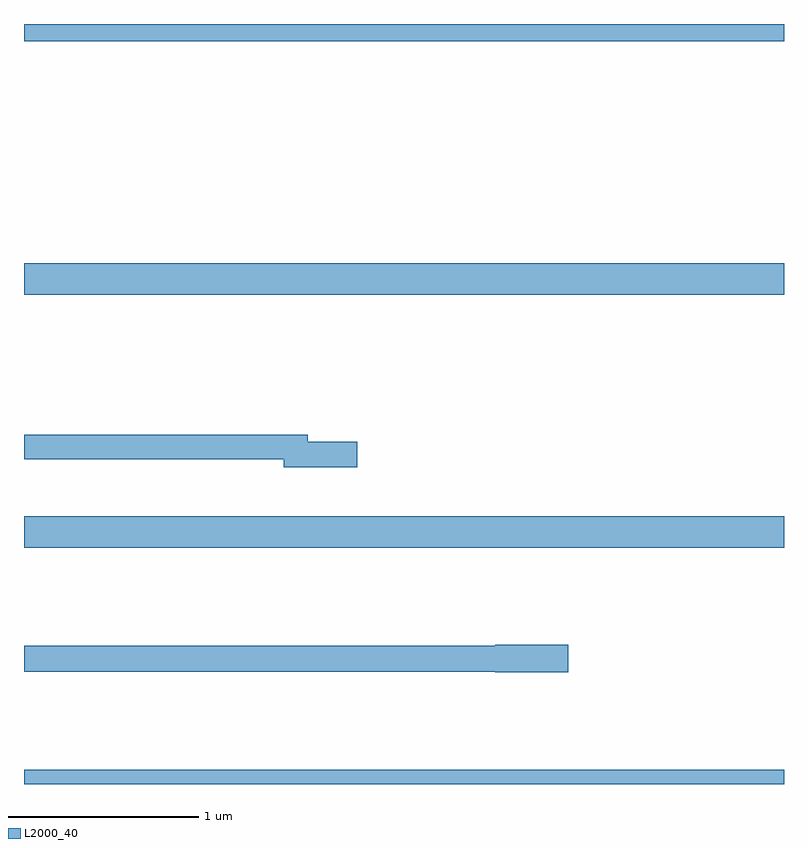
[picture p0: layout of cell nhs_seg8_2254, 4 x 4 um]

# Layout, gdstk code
import gdstk
lib = gdstk.Library(unit=1e-6, precision=1e-09)
def R(c, l, rs):  # rectangles x0, y0, x1, y1
    for r in rs: c.add(gdstk.rectangle(r[:2], r[2:], *l))
def P(c, l, *ps):  # polygons
    for p in ps: c.add(gdstk.Polygon(p, *l))
L2000_40 = (2000, 40)

nhs_seg8_2254 = lib.new_cell('nhs_seg8_2254')
R(nhs_seg8_2254, L2000_40, [(253,1137.9,257,1137.976), (253,1139.144,257,1139.308), (253,1140.476,257,1140.64), (253,1141.808,257,1141.9)])
P(nhs_seg8_2254, L2000_40, [(254.755,1139.702),(254.494,1139.702),(254.494,1139.738),(253,1139.738),(253,1139.61),(254.366,1139.61),(254.366,1139.567),(254.755,1139.567)],
  [(255.865,1138.634),(255.48,1138.634),(255.48,1138.628),(253,1138.628),(253,1138.492),(255.48,1138.492),(255.48,1138.487),(255.865,1138.487)])

lib.write_gds('nhs_seg8_2254.gds')
